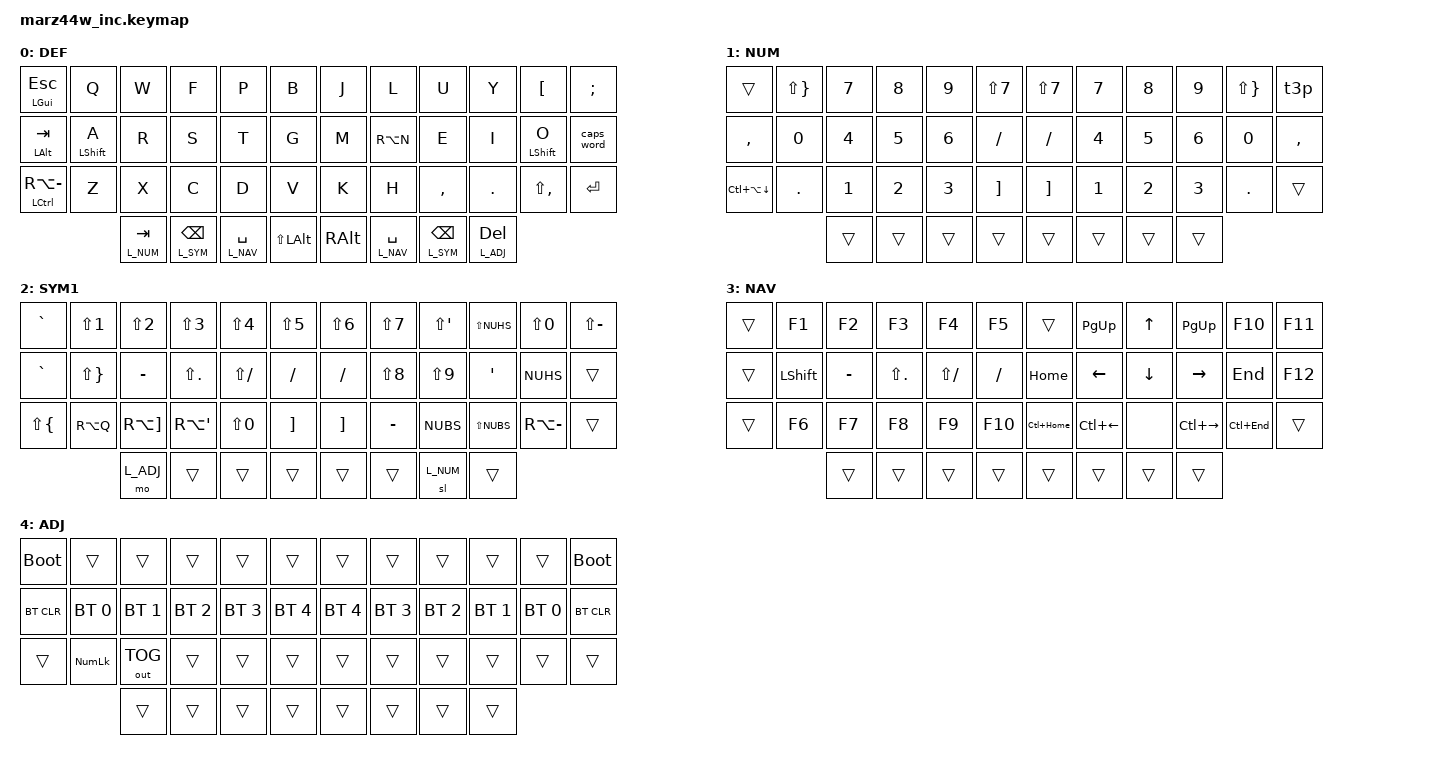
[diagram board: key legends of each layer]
/* Generated by zkeymap: 2025-03-18 12:25:04.058920 marz44w_inc.keymap */
#define L_DEF 0
#define L_NUM 1
#define L_SYM 2
#define L_NAV 3
#define L_ADJ 4

/ {
    macros {
        t3p_ucl: t3p_ucl {
            compatible = "zmk,behavior-macro";
            wait-ms = <0>;
            tap-ms = <0>;
            #binding-cells = <0>;
            bindings = <&macro_tap &kp LS(LC(U))>, <&macro_tap &kp N2 &kp N2 &kp N3 &kp N4>, <&macro_tap &kp SPACE>;
        };
    };
};


/ {
    macros {
        t3p_ucu: t3p_ucu {
            compatible = "zmk,behavior-macro";
            wait-ms = <0>;
            tap-ms = <0>;
            #binding-cells = <0>;
            bindings = <&macro_tap &kp LS(LC(U))>, <&macro_tap &kp N2 &kp N2 &kp N3 &kp N4>, <&macro_tap &kp SPACE>;
        };
    };
};


/ {
    behaviors {
        t3p: t3p {
            compatible = "zmk,behavior-mod-morph";
            #binding-cells = <0>;
            bindings = <&t3p_ucl>, <&t3p_ucu>;
            mods = <(MOD_LSFT|MOD_RSFT)>;
        };
    };
};


/ {
    combos {
        compatible = "zmk,combos";
        combo_czw {
            timeout-ms = <50>;
            key-positions = <38 41>;
            bindings = <&kp LC(LA(DOWN))>;
            layers = <0>;
        };
    };
};


/ {
   keymap {
       compatible = "zmk,keymap";

        def {
            display-name = "DEF";
            bindings = <
                &mt LGUI ESC         &kp Q         &kp W          &kp F           &kp P          &kp B         &kp J     &kp L          &kp U           &kp Y          &kp LBKT       &kp SEMI    
                &mt LALT TAB         &mt LSHIFT A  &kp R          &kp S           &kp T          &kp G         &kp M     &kp RA(N)      &kp E           &kp I          &mt LSHIFT O   &caps_word  
                &mt LCTRL RA(MINUS)  &kp Z         &kp X          &kp C           &kp D          &kp V         &kp K     &kp H          &kp COMMA       &kp DOT        &kp LS(COMMA)  &kp RET     
                                                   &lt L_NUM TAB  &lt L_SYM BSPC  &lt L_NAV SPC  &kp LS(LALT)  &kp RALT  &lt L_NAV SPC  &lt L_SYM BSPC  &lt L_ADJ DEL                             
            >;
        };

        num {
            display-name = "NUM";
            bindings = <
                &trans            &kp LS(RBRC)  &kp N7  &kp N8  &kp N9  &kp LS(N7)  &kp LS(N7)  &kp N7  &kp N8  &kp N9  &kp LS(RBRC)  &t3p       
                &kp COMMA         &kp N0        &kp N4  &kp N5  &kp N6  &kp SLASH   &kp SLASH   &kp N4  &kp N5  &kp N6  &kp N0        &kp COMMA  
                &kp LC(LA(DOWN))  &kp DOT       &kp N1  &kp N2  &kp N3  &kp RBKT    &kp RBKT    &kp N1  &kp N2  &kp N3  &kp DOT       &trans     
                                                &trans  &trans  &trans  &trans      &trans      &trans  &trans  &trans                           
            >;
        };

        sym {
            display-name = "SYM1";
            bindings = <
                &kp GRAVE     &kp LS(N1)    &kp LS(N2)    &kp LS(N3)   &kp LS(N4)     &kp LS(N5)  &kp LS(N6)  &kp LS(N7)  &kp LS(SQT)  &kp LS(NUHS)  &kp LS(N0)     &kp LS(MINUS)  
                &kp GRAVE     &kp LS(RBRC)  &kp MINUS     &kp LS(DOT)  &kp LS(SLASH)  &kp SLASH   &kp SLASH   &kp LS(N8)  &kp LS(N9)   &kp SQT       &kp NUHS       &trans         
                &kp LS(LBRC)  &kp RA(Q)     &kp RA(RBKT)  &kp RA(SQT)  &kp LS(N0)     &kp RBKT    &kp RBKT    &kp MINUS   &kp NUBS     &kp LS(NUBS)  &kp RA(MINUS)  &trans         
                                            &mo L_ADJ     &trans       &trans         &trans      &trans      &trans      &sl L_NUM    &trans                                      
            >;
        };

        nav {
            display-name = "NAV";
            bindings = <
                &trans  &kp F1      &kp F2     &kp F3       &kp F4         &kp F5     &trans        &kp PG_UP     &kp UP    &kp PG_UP      &kp F10      &kp F11  
                &trans  &kp LSHIFT  &kp MINUS  &kp LS(DOT)  &kp LS(SLASH)  &kp SLASH  &kp HOME      &kp LEFT      &kp DOWN  &kp RIGHT      &kp END      &kp F12  
                &trans  &kp F6      &kp F7     &kp F8       &kp F9         &kp F10    &kp LC(HOME)  &kp LC(LEFT)  &none     &kp LC(RIGHT)  &kp LC(END)  &trans   
                                    &trans     &trans       &trans         &trans     &trans        &trans        &trans    &trans                               
            >;
        };

        adj {
            display-name = "ADJ";
            bindings = <
                &bootloader  &trans        &trans        &trans        &trans        &trans        &trans        &trans        &trans        &trans        &trans        &bootloader  
                &bt BT_CLR   &bt BT_SEL 0  &bt BT_SEL 1  &bt BT_SEL 2  &bt BT_SEL 3  &bt BT_SEL 4  &bt BT_SEL 4  &bt BT_SEL 3  &bt BT_SEL 2  &bt BT_SEL 1  &bt BT_SEL 0  &bt BT_CLR   
                &trans       &kp KP_NLCK   &out OUT_TOG  &trans        &trans        &trans        &trans        &trans        &trans        &trans        &trans        &trans       
                                           &trans        &trans        &trans        &trans        &trans        &trans        &trans        &trans                                   
            >;
        };

    };
};
